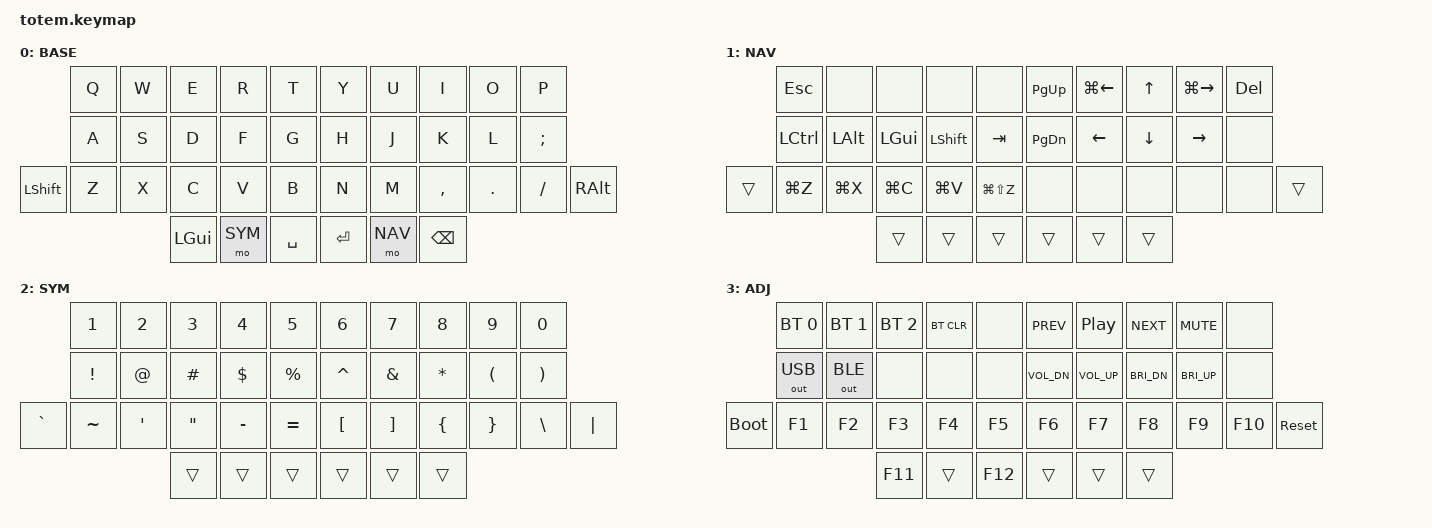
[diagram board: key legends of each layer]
// TOTEM — prosty layout QWERTY pod programowanie na Macu.
//
// Zasady:
//  - BASE = zwykłe QWERTY, żadnych mod-tapów na literach.
//  - Prawy środkowy kciuk (przytrzymaj) = NAV, jak na Redoxie: strzałki na I J K L (odwrócone T),
//    Ctrl/Opt/Cmd/Shift pod lewą ręką + kopiuj/wklej.
//  - Lewy środkowy kciuk (przytrzymaj) = SYM: cyfry, symbole, nawiasy.
//  - Oba środkowe kciuki naraz = ADJ: Bluetooth/USB, media, F-klawisze, bootloader.
//  - Esc = Q+W naraz (albo Q na warstwie NAV).
//
// Pozycje klawiszy (38): rząd 0 = 0-9, rząd 1 = 10-19, rząd 2 = 20-31 (20 i 31 to zewnętrzne pod małym palcem),
// kciuki = 32-37.

#include <behaviors.dtsi>
#include <dt-bindings/zmk/keys.h>
#include <dt-bindings/zmk/bt.h>
#include <dt-bindings/zmk/outputs.h>

#define BASE 0
#define NAV  1
#define SYM  2
#define ADJ  3

/ {
    combos {
        compatible = "zmk,combos";
        combo_esc {
            timeout-ms = <50>;
            key-positions = <0 1>;
            bindings = <&kp ESC>;
        };
    };

    conditional_layers {
        compatible = "zmk,conditional-layers";
        tri_layer {
            if-layers = <NAV SYM>;
            then-layer = <ADJ>;
        };
    };

    keymap {
        compatible = "zmk,keymap";

        base_layer {
            display-name = "BASE";
//             ┌───────┬───────┬───────┬───────┬───────┐   ┌───────┬───────┬───────┬───────┬───────┐
//             │   Q   │   W   │   E   │   R   │   T   │   │   Y   │   U   │   I   │   O   │   P   │
//             ├───────┼───────┼───────┼───────┼───────┤   ├───────┼───────┼───────┼───────┼───────┤
//             │   A   │   S   │   D   │   F   │   G   │   │   H   │   J   │   K   │   L   │   ;   │
//     ┌───────┼───────┼───────┼───────┼───────┼───────┤   ├───────┼───────┼───────┼───────┼───────┼───────┐
//     │ SHIFT │   Z   │   X   │   C   │   V   │   B   │   │   N   │   M   │   ,   │   .   │   /   │  OPT  │
//     └───────┴───────┴───────┼───────┼───────┼───────┤   ├───────┼───────┼───────┼───────┴───────┴───────┘
//                             │  CMD  │  SYM  │ SPACE │   │ ENTER │  NAV  │ BSPC  │
//                             └───────┴───────┴───────┘   └───────┴───────┴───────┘
            bindings = <
                &kp Q     &kp W     &kp E     &kp R     &kp T        &kp Y     &kp U     &kp I     &kp O     &kp P
                &kp A     &kp S     &kp D     &kp F     &kp G        &kp H     &kp J     &kp K     &kp L     &kp SEMI
      &kp LSHFT &kp Z     &kp X     &kp C     &kp V     &kp B        &kp N     &kp M     &kp COMMA &kp DOT   &kp FSLH  &kp RALT
                                    &kp LGUI  &mo SYM   &kp SPACE    &kp RET   &mo NAV   &kp BSPC
            >;
        };

        nav_layer {
            display-name = "NAV";
//             ┌───────┬───────┬───────┬───────┬───────┐   ┌───────┬───────┬───────┬───────┬───────┐
//             │  ESC  │       │       │       │       │   │ PG UP │ LINE< │   ↑   │ LINE> │  DEL  │
//             ├───────┼───────┼───────┼───────┼───────┤   ├───────┼───────┼───────┼───────┼───────┤
//             │ CTRL  │  OPT  │  CMD  │ SHIFT │  TAB  │   │ PG DN │   ←   │   ↓   │   →   │       │
//     ┌───────┼───────┼───────┼───────┼───────┼───────┤   ├───────┼───────┼───────┼───────┼───────┼───────┐
//     │       │ UNDO  │  CUT  │ COPY  │ PASTE │ REDO  │   │       │       │       │       │       │       │
//     └───────┴───────┴───────┼───────┼───────┼───────┤   ├───────┼───────┼───────┼───────┴───────┴───────┘
//                             │       │       │       │   │       │ (hold)│       │
//                             └───────┴───────┴───────┘   └───────┴───────┴───────┘
            bindings = <
                &kp ESC   &none     &none     &none     &none        &kp PG_UP &kp LG(LEFT) &kp UP    &kp LG(RIGHT) &kp DEL
                &kp LCTRL &kp LALT  &kp LGUI  &kp LSHFT &kp TAB      &kp PG_DN &kp LEFT  &kp DOWN  &kp RIGHT &none
      &trans    &kp LG(Z) &kp LG(X) &kp LG(C) &kp LG(V) &kp LG(LS(Z)) &none    &none     &none     &none     &none     &trans
                                    &trans    &trans    &trans       &trans    &trans    &trans
            >;
        };

        sym_layer {
            display-name = "SYM";
//             ┌───────┬───────┬───────┬───────┬───────┐   ┌───────┬───────┬───────┬───────┬───────┐
//             │   1   │   2   │   3   │   4   │   5   │   │   6   │   7   │   8   │   9   │   0   │
//             ├───────┼───────┼───────┼───────┼───────┤   ├───────┼───────┼───────┼───────┼───────┤
//             │   !   │   @   │   #   │   $   │   %   │   │   ^   │   &   │   *   │   (   │   )   │
//     ┌───────┼───────┼───────┼───────┼───────┼───────┤   ├───────┼───────┼───────┼───────┼───────┼───────┐
//     │   `   │   ~   │   '   │   "   │   -   │   =   │   │   [   │   ]   │   {   │   }   │   \   │   |   │
//     └───────┴───────┴───────┼───────┼───────┼───────┤   ├───────┼───────┼───────┼───────┴───────┴───────┘
//                             │       │ (hold)│       │   │       │       │       │
//                             └───────┴───────┴───────┘   └───────┴───────┴───────┘
//  _ = Shift + -     + = Shift + =     : = Shift + ;     < > ? = Shift + , . /
            bindings = <
                &kp N1    &kp N2    &kp N3    &kp N4    &kp N5       &kp N6    &kp N7    &kp N8    &kp N9    &kp N0
                &kp EXCL  &kp AT    &kp HASH  &kp DLLR  &kp PRCNT    &kp CARET &kp AMPS  &kp STAR  &kp LPAR  &kp RPAR
      &kp GRAVE &kp TILDE &kp SQT   &kp DQT   &kp MINUS &kp EQUAL    &kp LBKT  &kp RBKT  &kp LBRC  &kp RBRC  &kp BSLH  &kp PIPE
                                    &trans    &trans    &trans       &trans    &trans    &trans
            >;
        };

        adjust_layer {
            display-name = "ADJ";
//             ┌───────┬───────┬───────┬───────┬───────┐   ┌───────┬───────┬───────┬───────┬───────┐
//             │  BT 1 │  BT 2 │  BT 3 │BT CLR │       │   │ PREV  │ PLAY  │ NEXT  │ MUTE  │       │
//             ├───────┼───────┼───────┼───────┼───────┤   ├───────┼───────┼───────┼───────┼───────┤
//             │  USB  │  BLE  │       │       │       │   │ VOL-  │ VOL+  │ BRI-  │ BRI+  │       │
//     ┌───────┼───────┼───────┼───────┼───────┼───────┤   ├───────┼───────┼───────┼───────┼───────┼───────┐
//     │BOOTLDR│  F1   │  F2   │  F3   │  F4   │  F5   │   │  F6   │  F7   │  F8   │  F9   │  F10  │ RESET │
//     └───────┴───────┴───────┼───────┼───────┼───────┤   ├───────┼───────┼───────┼───────┴───────┴───────┘
//                             │  F11  │ (hold)│  F12  │   │       │ (hold)│       │
//                             └───────┴───────┴───────┘   └───────┴───────┴───────┘
            bindings = <
                &bt BT_SEL 0 &bt BT_SEL 1 &bt BT_SEL 2 &bt BT_CLR &none    &kp C_PREV &kp C_PP  &kp C_NEXT &kp C_MUTE &none
                &out OUT_USB &out OUT_BLE &none     &none     &none        &kp C_VOL_DN &kp C_VOL_UP &kp C_BRI_DN &kp C_BRI_UP &none
      &bootloader &kp F1   &kp F2    &kp F3    &kp F4    &kp F5       &kp F6    &kp F7    &kp F8    &kp F9    &kp F10   &sys_reset
                                    &kp F11   &trans    &kp F12      &trans    &trans    &trans
            >;
        };
    };
};
